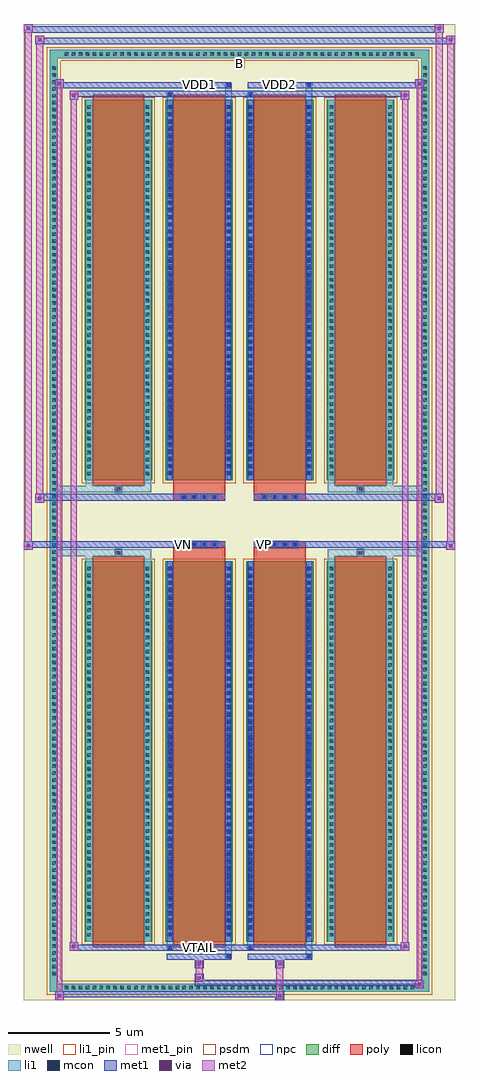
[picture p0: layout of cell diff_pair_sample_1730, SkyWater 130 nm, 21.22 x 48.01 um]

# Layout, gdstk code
import gdstk
lib = gdstk.Library(unit=1e-6, precision=5e-09)
def R(c, l, rs):  # rectangles x0, y0, x1, y1
    for r in rs: c.add(gdstk.rectangle(r[:2], r[2:], *l))
def A(c, l, x, y, w, h, nx, ny, dx, dy):  # array of equal rectangles
    R(c, l, [(x+i*dx, y+j*dy, x+i*dx+w, y+j*dy+h) for i in range(nx) for j in range(ny)])
def P(c, l, *ps):  # polygons
    for p in ps: c.add(gdstk.Polygon(p, *l))
nwell = (64, 20)
diff = (65, 20)
poly = (66, 20)
licon = (66, 44)
li1_pin = (67, 16)
li1 = (67, 20)
mcon = (67, 44)
met1_pin = (68, 16)
met1 = (68, 20)
via = (68, 44)
met2 = (69, 20)
psdm = (94, 20)
npc = (95, 20)

diff_pair_sample_1730 = lib.new_cell('diff_pair_sample_1730')
R(diff_pair_sample_1730, nwell, [(-10.61,-23.57,10.61,24.44), (-7.93,-21.76,-0.01,-0.8), (0.01,-21.76,7.93,-0.8), (-7.93,0.8,-0.01,21.76), (0.01,0.8,7.93,21.76)])
A(diff_pair_sample_1730, diff, -8.705, -23.17, 0.41, 0.41, 51, 2, 0.34, 45.93)
A(diff_pair_sample_1730, diff, -9.34, -22.475, 0.41, 0.41, 1, 132, 0, 0.34)
A(diff_pair_sample_1730, diff, 8.93, -22.475, 0.41, 0.41, 1, 132, 0, 0.34)
A(diff_pair_sample_1730, diff, -7.62, -20.715, 3.33, 18.73, 4, 2, 3.97, 22.7)
R(diff_pair_sample_1730, diff, [(-8.705,-23.17,8.705,-22.76), (-9.34,-22.475,-8.93,22.475), (8.93,-22.475,9.34,22.475), (-8.705,22.76,8.705,23.17)])
P(diff_pair_sample_1730, diff, [(9.34,23.17),(-9.34,23.17),(-9.34,-22.76),(-8.93,-22.76),(-8.93,22.76),(8.93,22.76),(8.93,-22.76),(-8.93,-22.76),(-9.34,-22.76),(-9.34,-23.17),(9.34,-23.17)])
A(diff_pair_sample_1730, poly, -7.23, -20.965, 2.55, 19.23, 4, 2, 3.97, 22.7)
A(diff_pair_sample_1730, poly, -2.9, -1.33, 0.33, 0.33, 4, 2, 0.5, 2.33)
A(diff_pair_sample_1730, poly, 1.07, -1.33, 0.33, 0.33, 4, 2, 0.5, 2.33)
R(diff_pair_sample_1730, poly, [(-6.12,-1.735,-5.79,-1.405), (-6.12,-1.735,-5.79,-1.405), (-3.26,-1.735,-0.71,-1.33), (0.71,-1.735,3.26,-1.33), (5.79,-1.735,6.12,-1.405), (5.79,-1.735,6.12,-1.405), (-3.26,-1.33,-0.71,-1), (0.71,-1.33,3.26,-1), (-3.26,1,-0.71,1.33), (0.71,1,3.26,1.33), (-3.26,1.33,-0.71,1.735), (0.71,1.33,3.26,1.735), (-6.12,1.405,-5.79,1.735), (-6.12,1.405,-5.79,1.735), (5.79,1.405,6.12,1.735), (5.79,1.405,6.12,1.735)])
A(diff_pair_sample_1730, licon, -8.585, -23.05, 0.17, 0.17, 51, 2, 0.34, 45.93)
A(diff_pair_sample_1730, licon, -9.22, -22.355, 0.17, 0.17, 1, 132, 0, 0.34)
A(diff_pair_sample_1730, licon, 9.05, -22.355, 0.17, 0.17, 1, 132, 0, 0.34)
A(diff_pair_sample_1730, licon, -7.48, -20.445, 0.17, 0.17, 1, 54, 0, 0.34)
A(diff_pair_sample_1730, licon, -4.6, -20.445, 0.17, 0.17, 1, 54, 0, 0.34)
A(diff_pair_sample_1730, licon, -3.51, -20.445, 0.17, 0.17, 1, 54, 0, 0.34)
A(diff_pair_sample_1730, licon, -0.63, -20.445, 0.17, 0.17, 1, 54, 0, 0.34)
A(diff_pair_sample_1730, licon, 0.46, -20.445, 0.17, 0.17, 1, 54, 0, 0.34)
A(diff_pair_sample_1730, licon, 3.34, -20.445, 0.17, 0.17, 1, 54, 0, 0.34)
A(diff_pair_sample_1730, licon, 4.43, -20.445, 0.17, 0.17, 1, 54, 0, 0.34)
A(diff_pair_sample_1730, licon, 7.31, -20.445, 0.17, 0.17, 1, 54, 0, 0.34)
A(diff_pair_sample_1730, licon, -2.82, -1.25, 0.17, 0.17, 4, 2, 0.5, 2.33)
A(diff_pair_sample_1730, licon, 1.15, -1.25, 0.17, 0.17, 4, 2, 0.5, 2.33)
A(diff_pair_sample_1730, licon, -7.48, 2.255, 0.17, 0.17, 1, 54, 0, 0.34)
A(diff_pair_sample_1730, licon, -4.6, 2.255, 0.17, 0.17, 1, 54, 0, 0.34)
A(diff_pair_sample_1730, licon, -3.51, 2.255, 0.17, 0.17, 1, 54, 0, 0.34)
A(diff_pair_sample_1730, licon, -0.63, 2.255, 0.17, 0.17, 1, 54, 0, 0.34)
A(diff_pair_sample_1730, licon, 0.46, 2.255, 0.17, 0.17, 1, 54, 0, 0.34)
A(diff_pair_sample_1730, licon, 3.34, 2.255, 0.17, 0.17, 1, 54, 0, 0.34)
A(diff_pair_sample_1730, licon, 4.43, 2.255, 0.17, 0.17, 1, 54, 0, 0.34)
A(diff_pair_sample_1730, licon, 7.31, 2.255, 0.17, 0.17, 1, 54, 0, 0.34)
R(diff_pair_sample_1730, licon, [(-6.04,-1.655,-5.87,-1.485), (5.87,-1.655,6.04,-1.485), (-6.04,1.485,-5.87,1.655), (5.87,1.485,6.04,1.655)])
R(diff_pair_sample_1730, li1_pin, [(-0.25,22.26,0.25,22.76)])
A(diff_pair_sample_1730, li1, -8.665, -23.13, 0.33, 0.33, 51, 2, 0.34, 45.93)
A(diff_pair_sample_1730, li1, -9.3, -22.435, 0.33, 0.33, 1, 132, 0, 0.34)
A(diff_pair_sample_1730, li1, 8.97, -22.435, 0.33, 0.33, 1, 132, 0, 0.34)
A(diff_pair_sample_1730, li1, -7.56, -20.525, 0.33, 0.33, 1, 54, 0, 0.34)
A(diff_pair_sample_1730, li1, -4.68, -20.525, 0.33, 0.33, 1, 54, 0, 0.34)
A(diff_pair_sample_1730, li1, -3.59, -20.525, 0.33, 0.33, 1, 54, 0, 0.34)
A(diff_pair_sample_1730, li1, -0.71, -20.525, 0.33, 0.33, 1, 54, 0, 0.34)
A(diff_pair_sample_1730, li1, 0.38, -20.525, 0.33, 0.33, 1, 54, 0, 0.34)
A(diff_pair_sample_1730, li1, 3.26, -20.525, 0.33, 0.33, 1, 54, 0, 0.34)
A(diff_pair_sample_1730, li1, 4.35, -20.525, 0.33, 0.33, 1, 54, 0, 0.34)
A(diff_pair_sample_1730, li1, 7.23, -20.525, 0.33, 0.33, 1, 54, 0, 0.34)
A(diff_pair_sample_1730, li1, -3.51, -20.435, 0.17, 0.17, 1, 51, 0, 0.36)
A(diff_pair_sample_1730, li1, -0.63, -20.435, 0.17, 0.17, 1, 51, 0, 0.36)
A(diff_pair_sample_1730, li1, 0.46, -20.435, 0.17, 0.17, 1, 51, 0, 0.36)
A(diff_pair_sample_1730, li1, 3.34, -20.435, 0.17, 0.17, 1, 51, 0, 0.36)
A(diff_pair_sample_1730, li1, -2.9, -1.33, 0.33, 0.33, 4, 2, 0.5, 2.33)
A(diff_pair_sample_1730, li1, 1.07, -1.33, 0.33, 0.33, 4, 2, 0.5, 2.33)
A(diff_pair_sample_1730, li1, -7.56, 2.175, 0.33, 0.33, 1, 54, 0, 0.34)
A(diff_pair_sample_1730, li1, -4.68, 2.175, 0.33, 0.33, 1, 54, 0, 0.34)
A(diff_pair_sample_1730, li1, -3.59, 2.175, 0.33, 0.33, 1, 54, 0, 0.34)
A(diff_pair_sample_1730, li1, -0.71, 2.175, 0.33, 0.33, 1, 54, 0, 0.34)
A(diff_pair_sample_1730, li1, 0.38, 2.175, 0.33, 0.33, 1, 54, 0, 0.34)
A(diff_pair_sample_1730, li1, 3.26, 2.175, 0.33, 0.33, 1, 54, 0, 0.34)
A(diff_pair_sample_1730, li1, 4.35, 2.175, 0.33, 0.33, 1, 54, 0, 0.34)
A(diff_pair_sample_1730, li1, 7.23, 2.175, 0.33, 0.33, 1, 54, 0, 0.34)
A(diff_pair_sample_1730, li1, -3.51, 2.265, 0.17, 0.17, 1, 51, 0, 0.36)
A(diff_pair_sample_1730, li1, -0.63, 2.265, 0.17, 0.17, 1, 51, 0, 0.36)
A(diff_pair_sample_1730, li1, 0.46, 2.265, 0.17, 0.17, 1, 51, 0, 0.36)
A(diff_pair_sample_1730, li1, 3.34, 2.265, 0.17, 0.17, 1, 51, 0, 0.36)
R(diff_pair_sample_1730, li1, [(-9.34,-23.17,-8.93,-22.76), (-9.34,-23.17,-8.93,-22.76), (-8.93,-23.17,8.93,-22.76), (8.93,-23.17,9.34,-22.76), (8.93,-23.17,9.34,-22.76), (-9.34,-22.76,-8.93,22.76), (8.93,-22.76,9.34,22.76), (-0.71,-21.52,-0.38,-20.715), (-0.63,-21.52,-0.46,-21.35), (3.26,-21.52,3.59,-20.715), (3.34,-21.52,3.51,-21.35), (-3.59,-21.09,-3.26,-20.715), (-3.51,-21.09,-3.34,-20.92), (0.38,-21.09,0.71,-20.715), (0.46,-21.09,0.63,-20.92), (-7.56,-20.715,-7.23,-1.985), (-4.68,-20.715,-4.35,-1.985), (-3.59,-20.715,-3.26,-1.985), (-0.71,-20.715,-0.38,-1.985), (0.38,-20.715,0.71,-1.985), (3.26,-20.715,3.59,-1.985), (4.35,-20.715,4.68,-1.985), (7.23,-20.715,7.56,-1.985), (-3.51,-20.435,-3.34,-2.265), (-0.63,-20.435,-0.46,-2.265), (0.46,-20.435,0.63,-2.265), (3.34,-20.435,3.51,-2.265), (-7.56,-1.985,-7.23,-1.405), (-4.68,-1.985,-4.35,-1.405), (4.35,-1.985,4.68,-1.405), (7.23,-1.985,7.56,-1.405), (-9.34,-1.735,-6.12,-1.405), (-7.56,-1.735,-6.12,-1.405), (-6.12,-1.735,-5.79,-1.405), (-5.79,-1.735,-4.35,-1.405), (4.35,-1.735,5.79,-1.405), (5.79,-1.735,6.12,-1.405), (5.79,-1.735,9.34,-1.405), (6.12,-1.735,7.56,-1.405), (-9.34,1.405,-6.12,1.735), (-7.56,1.405,-6.12,1.735), (-7.56,1.405,-7.23,1.985), (-6.12,1.405,-5.79,1.735), (-5.79,1.405,-4.35,1.735), (-4.68,1.405,-4.35,1.985), (4.35,1.405,5.79,1.735), (4.35,1.405,4.68,1.985), (5.79,1.405,6.12,1.735), (5.79,1.405,9.34,1.735), (6.12,1.405,7.56,1.735), (7.23,1.405,7.56,1.985), (-7.56,1.985,-7.23,20.715), (-4.68,1.985,-4.35,20.715), (-3.59,1.985,-3.26,20.715), (-0.71,1.985,-0.38,20.715), (0.38,1.985,0.71,20.715), (3.26,1.985,3.59,20.715), (4.35,1.985,4.68,20.715), (7.23,1.985,7.56,20.715), (-3.51,2.265,-3.34,20.435), (-0.63,2.265,-0.46,20.435), (0.46,2.265,0.63,20.435), (3.34,2.265,3.51,20.435), (-3.59,20.715,-3.26,21.09), (-0.71,20.715,-0.38,21.52), (0.38,20.715,0.71,21.09), (3.26,20.715,3.59,21.52), (-3.51,20.92,-3.34,21.09), (0.46,20.92,0.63,21.09), (-0.63,21.35,-0.46,21.52), (3.34,21.35,3.51,21.52), (-9.34,22.76,-8.93,23.17), (-9.34,22.76,-8.93,23.17), (-8.93,22.76,8.93,23.17), (8.93,22.76,9.34,23.17), (8.93,22.76,9.34,23.17)])
A(diff_pair_sample_1730, mcon, -3.51, -20.435, 0.17, 0.17, 1, 51, 0, 0.36)
A(diff_pair_sample_1730, mcon, -0.63, -20.435, 0.17, 0.17, 1, 51, 0, 0.36)
A(diff_pair_sample_1730, mcon, 0.46, -20.435, 0.17, 0.17, 1, 51, 0, 0.36)
A(diff_pair_sample_1730, mcon, 3.34, -20.435, 0.17, 0.17, 1, 51, 0, 0.36)
A(diff_pair_sample_1730, mcon, -2.82, -1.25, 0.17, 0.17, 4, 2, 0.5, 2.33)
A(diff_pair_sample_1730, mcon, 1.15, -1.25, 0.17, 0.17, 4, 2, 0.5, 2.33)
A(diff_pair_sample_1730, mcon, -3.51, 2.265, 0.17, 0.17, 1, 51, 0, 0.36)
A(diff_pair_sample_1730, mcon, -0.63, 2.265, 0.17, 0.17, 1, 51, 0, 0.36)
A(diff_pair_sample_1730, mcon, 0.46, 2.265, 0.17, 0.17, 1, 51, 0, 0.36)
A(diff_pair_sample_1730, mcon, 3.34, 2.265, 0.17, 0.17, 1, 51, 0, 0.36)
R(diff_pair_sample_1730, mcon, [(-0.63,-21.52,-0.46,-21.35), (3.34,-21.52,3.51,-21.35), (-3.51,-21.09,-3.34,-20.92), (0.46,-21.09,0.63,-20.92), (-3.51,20.92,-3.34,21.09), (0.46,20.92,0.63,21.09), (-0.63,21.35,-0.46,21.52), (3.34,21.35,3.51,21.52)])
R(diff_pair_sample_1730, met1_pin, [(-2.12,-21.13,-1.85,-20.86), (-2.87,-1.29,-2.6,-1.02), (1.1,-1.29,1.37,-1.02), (-2.12,21.31,-1.85,21.58), (1.85,21.31,2.12,21.58)])
A(diff_pair_sample_1730, met1, -3.57, -20.495, 0.29, 0.29, 1, 51, 0, 0.36)
A(diff_pair_sample_1730, met1, -0.69, -20.495, 0.29, 0.29, 1, 51, 0, 0.36)
A(diff_pair_sample_1730, met1, 0.4, -20.495, 0.29, 0.29, 1, 51, 0, 0.36)
A(diff_pair_sample_1730, met1, 3.28, -20.495, 0.29, 0.29, 1, 51, 0, 0.36)
A(diff_pair_sample_1730, met1, -2.88, -1.31, 0.29, 0.29, 4, 2, 0.5, 2.33)
A(diff_pair_sample_1730, met1, 1.09, -1.31, 0.29, 0.29, 4, 2, 0.5, 2.33)
A(diff_pair_sample_1730, met1, -3.57, 2.205, 0.29, 0.29, 1, 51, 0, 0.36)
A(diff_pair_sample_1730, met1, -0.69, 2.205, 0.29, 0.29, 1, 51, 0, 0.36)
A(diff_pair_sample_1730, met1, 0.4, 2.205, 0.29, 0.29, 1, 51, 0, 0.36)
A(diff_pair_sample_1730, met1, 3.28, 2.205, 0.29, 0.29, 1, 51, 0, 0.36)
R(diff_pair_sample_1730, met1, [(-9.07,-23.57,-8.64,-23.14), (1.77,-23.57,2.2,-23.14), (-9.07,-23.43,2.2,-23.14), (8.64,-23,9.07,-22.57), (-2.2,-22.86,9.07,-22.57), (-2.2,-22.72,-1.77,-22.29), (-2.2,-22.01,-1.77,-21.58), (1.77,-22.01,2.2,-21.58), (-3.57,-21.58,-0.4,-21.29), (-0.69,-21.58,-0.4,-21.29), (0.4,-21.58,3.57,-21.29), (3.28,-21.58,3.57,-21.29), (-8.36,-21.15,-7.93,-20.72), (-8.36,-21.15,-3.57,-20.86), (-3.57,-21.15,-3.28,-20.86), (-3.57,-21.15,-0.4,-20.86), (-0.4,-21.15,0.4,-20.86), (0.4,-21.15,0.69,-20.86), (0.4,-21.15,3.57,-20.86), (3.57,-21.15,8.36,-20.86), (7.93,-21.15,8.36,-20.72), (-3.57,-20.715,-3.28,-1.985), (-0.69,-20.715,-0.4,-1.985), (0.4,-20.715,0.69,-1.985), (3.28,-20.715,3.57,-1.985), (-10.61,-1.43,-10.18,-1), (10.18,-1.43,10.61,-1), (-10.61,-1.33,-0.71,-1), (-3.26,-1.33,-0.71,-1), (0.71,-1.33,3.26,-1), (0.71,-1.33,10.61,-1), (-10.04,0.9,-9.61,1.33), (9.61,0.9,10.04,1.33), (-10.04,1,-3.26,1.33), (-3.26,1,-0.71,1.33), (0.71,1,3.26,1.33), (3.26,1,10.04,1.33), (-3.57,1.985,-3.28,20.715), (-0.69,1.985,-0.4,20.715), (0.4,1.985,0.69,20.715), (3.28,1.985,3.57,20.715), (-8.36,20.72,-7.93,21.15), (7.93,20.72,8.36,21.15), (-8.36,20.86,-3.57,21.15), (-3.57,20.86,-3.28,21.15), (-3.57,20.86,-0.4,21.15), (-0.4,20.86,0.4,21.15), (0.4,20.86,0.69,21.15), (0.4,20.86,3.57,21.15), (3.57,20.86,8.36,21.15), (-9.07,21.29,-8.64,21.72), (-9.07,21.29,-3.57,21.58), (-3.57,21.29,-0.4,21.58), (-0.69,21.29,-0.4,21.58), (0.4,21.29,3.57,21.58), (3.28,21.29,3.57,21.58), (3.57,21.29,9.07,21.58), (8.64,21.29,9.07,21.72), (-10.04,23.44,-9.61,23.87), (-10.04,23.44,-7.93,23.77), (-7.93,23.44,7.93,23.77), (7.93,23.44,10.61,23.77), (10.18,23.44,10.61,23.87), (-10.61,24.01,-10.18,24.44), (-10.61,24.01,-7.93,24.34), (-7.93,24.01,7.93,24.34), (7.93,24.01,10.04,24.34), (9.61,24.01,10.04,24.44)])
R(diff_pair_sample_1730, via, [(-8.93,-23.43,-8.78,-23.28), (1.91,-23.43,2.06,-23.28), (8.78,-22.86,8.93,-22.71), (-2.06,-22.58,-1.91,-22.43), (-2.06,-21.87,-1.91,-21.72), (1.91,-21.87,2.06,-21.72), (-8.22,-21.01,-8.07,-20.86), (8.07,-21.01,8.22,-20.86), (-10.47,-1.29,-10.32,-1.14), (10.32,-1.29,10.47,-1.14), (-9.9,1.04,-9.75,1.19), (9.75,1.04,9.9,1.19), (-8.22,20.86,-8.07,21.01), (8.07,20.86,8.22,21.01), (-8.93,21.43,-8.78,21.58), (8.78,21.43,8.93,21.58), (-9.9,23.58,-9.75,23.73), (10.32,23.58,10.47,23.73), (-10.47,24.15,-10.32,24.3), (9.75,24.15,9.9,24.3)])
R(diff_pair_sample_1730, met2, [(-9.07,-23.57,-8.64,-23.14), (-9,-23.57,-8.71,21.72), (-8.71,-23.57,-8.64,-23.14), (-9.02,-23.52,-8.69,-23.19), (1.82,-23.52,2.15,-23.19), (1.82,-23.19,2.15,-21.96), (8.64,-23,9.07,-22.57), (8.71,-23,9,21.72), (9,-23,9.07,-22.57), (8.69,-22.95,9.02,-22.62), (-2.15,-22.67,-1.82,-22.34), (-2.15,-22.34,-1.82,-21.96), (-2.15,-21.96,-1.82,-21.63), (1.82,-21.96,2.15,-21.63), (-8.36,-21.15,-7.93,-20.72), (-8.29,-21.15,-8,21.15), (-8,-21.15,-7.93,-20.72), (7.93,-21.15,8.36,-20.72), (8,-21.15,8.29,21.15), (8.29,-21.15,8.36,-20.72), (-8.31,-21.1,-7.98,-20.77), (7.98,-21.1,8.31,-20.77), (-10.61,-1.43,-10.18,-1), (-10.56,-1.43,-10.23,24.44), (-10.23,-1.43,-10.18,-1), (10.18,-1.43,10.61,-1), (10.23,-1.43,10.56,23.87), (10.56,-1.43,10.61,-1), (-10.56,-1.38,-10.23,-1.05), (10.23,-1.38,10.56,-1.05), (-10.04,0.9,-9.61,1.33), (-9.99,0.9,-9.66,23.87), (-9.66,0.9,-9.61,1.33), (9.61,0.9,10.04,1.33), (9.66,0.9,9.99,24.44), (9.99,0.9,10.04,1.33), (-9.99,0.95,-9.66,1.28), (9.66,0.95,9.99,1.28), (-8.36,20.72,-7.93,21.15), (-8,20.72,-7.93,21.15), (7.93,20.72,8.36,21.15), (8.29,20.72,8.36,21.15), (-8.31,20.77,-7.98,21.1), (7.98,20.77,8.31,21.1), (-9.07,21.29,-8.64,21.72), (-8.71,21.29,-8.64,21.72), (8.64,21.29,9.07,21.72), (9,21.29,9.07,21.72), (-9.02,21.34,-8.69,21.67), (8.69,21.34,9.02,21.67), (-10.04,23.44,-9.61,23.87), (-9.66,23.44,-9.61,23.87), (10.18,23.44,10.61,23.87), (10.56,23.44,10.61,23.87), (-9.99,23.49,-9.66,23.82), (10.23,23.49,10.56,23.82), (-10.61,24.01,-10.18,24.44), (-10.23,24.01,-10.18,24.44), (9.61,24.01,10.04,24.44), (9.99,24.01,10.04,24.44), (-10.56,24.06,-10.23,24.39), (9.66,24.06,9.99,24.39)])
A(diff_pair_sample_1730, psdm, -7.75, -20.845, 3.59, 18.99, 4, 2, 3.97, 22.7)
P(diff_pair_sample_1730, psdm, [(9.47,23.3),(-9.47,23.3),(-9.47,-22.63),(-8.8,-22.63),(-8.8,22.63),(8.8,22.63),(8.8,-22.63),(-8.8,-22.63),(-9.47,-22.63),(-9.47,-23.3),(9.47,-23.3)])
A(diff_pair_sample_1730, npc, -2.92, -1.35, 0.37, 0.37, 4, 2, 0.5, 2.33)
A(diff_pair_sample_1730, npc, 1.05, -1.35, 0.37, 0.37, 4, 2, 0.5, 2.33)
R(diff_pair_sample_1730, npc, [(-6.14,-1.755,-5.77,-1.385), (5.77,-1.755,6.14,-1.385), (-2.92,-1.35,-2.05,-0.98), (-2.92,-1.35,-2.05,-0.98), (-2.42,-1.35,-1.55,-0.98), (-2.42,-1.35,-1.55,-0.98), (-1.92,-1.35,-1.05,-0.98), (-1.92,-1.35,-1.05,-0.98), (1.05,-1.35,1.92,-0.98), (1.05,-1.35,1.92,-0.98), (1.55,-1.35,2.42,-0.98), (1.55,-1.35,2.42,-0.98), (2.05,-1.35,2.92,-0.98), (2.05,-1.35,2.92,-0.98), (-2.92,0.98,-2.05,1.35), (-2.92,0.98,-2.05,1.35), (-2.42,0.98,-1.55,1.35), (-2.42,0.98,-1.55,1.35), (-1.92,0.98,-1.05,1.35), (-1.92,0.98,-1.05,1.35), (1.05,0.98,1.92,1.35), (1.05,0.98,1.92,1.35), (1.55,0.98,2.42,1.35), (1.55,0.98,2.42,1.35), (2.05,0.98,2.92,1.35), (2.05,0.98,2.92,1.35), (-6.14,1.385,-5.77,1.755), (5.77,1.385,6.14,1.755)])
diff_pair_sample_1730.add(gdstk.Label('VTAIL', (-1.985,-20.995), layer=68, texttype=5))
diff_pair_sample_1730.add(gdstk.Label('VN', (-2.735,-1.155), layer=68, texttype=5))
diff_pair_sample_1730.add(gdstk.Label('VP', (1.235,-1.155), layer=68, texttype=5))
diff_pair_sample_1730.add(gdstk.Label('B', (0,22.51), layer=67, texttype=5))
diff_pair_sample_1730.add(gdstk.Label('VDD2', (1.985,21.445), layer=68, texttype=5))
diff_pair_sample_1730.add(gdstk.Label('VDD1', (-1.985,21.445), layer=68, texttype=5))

lib.write_gds('diff_pair_sample_1730.gds')
